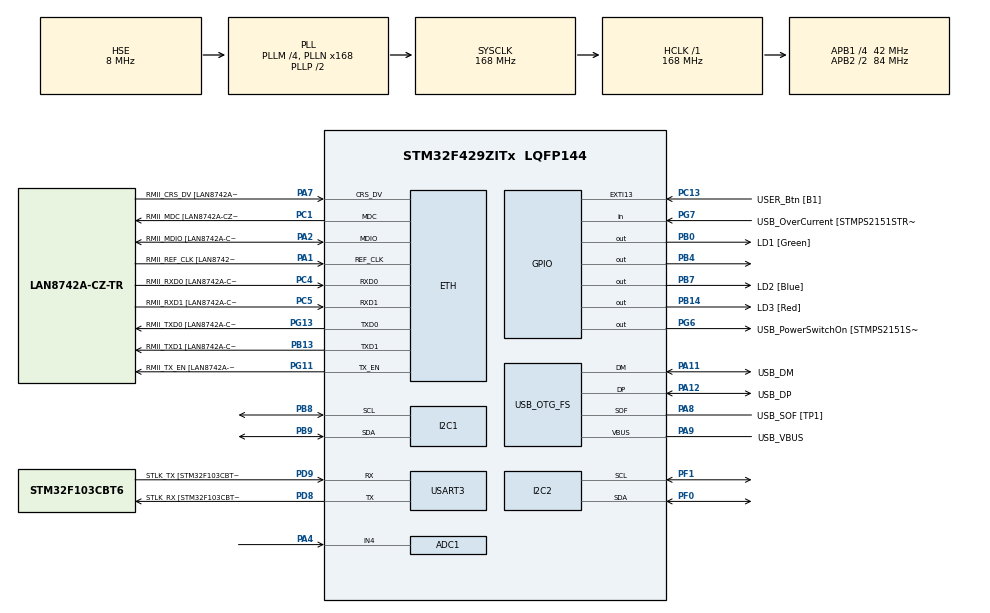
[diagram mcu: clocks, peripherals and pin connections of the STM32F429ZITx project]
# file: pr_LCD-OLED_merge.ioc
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ADC1.Channel-0\#ChannelRegularConversion=ADC_CHANNEL_4
ADC1.ContinuousConvMode=ENABLE
ADC1.DMAContinuousRequests=ENABLE
ADC1.NbrOfConversionFlag=1
ADC1.Rank-0\#ChannelRegularConversion=1
ADC1.SamplingTime-0\#ChannelRegularConversion=ADC_SAMPLETIME_3CYCLES
ADC1.master=1
Dma.ADC1.0.Direction=DMA_PERIPH_TO_MEMORY
Dma.ADC1.0.FIFOMode=DMA_FIFOMODE_DISABLE
Dma.ADC1.0.Instance=DMA2_Stream0
Dma.ADC1.0.MemDataAlignment=DMA_MDATAALIGN_HALFWORD
Dma.ADC1.0.MemInc=DMA_MINC_ENABLE
Dma.ADC1.0.Mode=DMA_CIRCULAR
Dma.ADC1.0.PeriphDataAlignment=DMA_PDATAALIGN_HALFWORD
Dma.ADC1.0.PeriphInc=DMA_PINC_DISABLE
Dma.ADC1.0.Priority=DMA_PRIORITY_LOW
Dma.Request0=ADC1
ETH.MediaInterface=HAL_ETH_RMII_MODE
ETH.PHY_Name=LAN8742A_PHY_ADDRESS
ETH.PHY_Value=0
ETH.PhyAddress=0
Mcu.Family=STM32F4
Mcu.Name=STM32F429ZITx
Mcu.Package=LQFP144
Mcu.UserConstants=T6_CNT,500;T4_PRE,8400-1;T7_CNT,1000-1;T4_CNT,2000-1;T6_PRE,8400-1;T7_PRE,84-1
NVIC.DMA2_Stream0_IRQn=true\:0\:0\:false\:false\:true\:false\:true\:true
NVIC.EXTI15_10_IRQn=true\:0\:0\:false\:false\:true\:true\:true\:true
NVIC.PriorityGroup=NVIC_PRIORITYGROUP_4
NVIC.TIM4_IRQn=true\:0\:0\:false\:false\:true\:true\:true\:true
NVIC.TIM6_DAC_IRQn=true\:0\:0\:false\:false\:true\:true\:true\:true
NVIC.TIM7_IRQn=true\:0\:0\:false\:false\:true\:true\:true\:true
PA1.GPIO_Label=RMII_REF_CLK [LAN8742A-CZ-TR_REFCLK0]
PA1.Mode=RMII
PA1.Signal=ETH_REF_CLK
PA10.GPIO_Label=USB_ID
PA10.Signal=USB_OTG_FS_ID
PA11.GPIO_Label=USB_DM
PA11.Mode=Device_Only
PA11.Signal=USB_OTG_FS_DM
PA12.GPIO_Label=USB_DP
PA12.Mode=Device_Only
PA12.Signal=USB_OTG_FS_DP
PA13.GPIO_Label=TMS
PA13.Mode=Serial_Wire
PA13.Signal=SYS_JTMS-SWDIO
PA14.GPIO_Label=TCK
PA14.Mode=Serial_Wire
PA14.Signal=SYS_JTCK-SWCLK
PA2.GPIO_Label=RMII_MDIO [LAN8742A-CZ-TR_MDIO]
PA2.Mode=RMII
PA2.Signal=ETH_MDIO
PA4.Signal=ADCx_IN4
PA7.GPIO_Label=RMII_CRS_DV [LAN8742A-CZ-TR_CRS_DV]
PA7.Mode=RMII
PA7.Signal=ETH_CRS_DV
PA8.GPIO_Label=USB_SOF [TP1]
PA8.Mode=Activate_SOF_FS
PA8.Signal=USB_OTG_FS_SOF
PA9.GPIO_Label=USB_VBUS
PA9.Mode=Activate_VBUS
PA9.Signal=USB_OTG_FS_VBUS
PB0.GPIO_Label=LD1 [Green]
PB0.Signal=GPIO_Output
PB13.GPIO_Label=RMII_TXD1 [LAN8742A-CZ-TR_TXD1]
PB13.Mode=RMII
PB13.Signal=ETH_TXD1
PB14.GPIO_Label=LD3 [Red]
PB14.Signal=GPIO_Output
PB4.Signal=GPIO_Output
PB7.GPIO_Label=LD2 [Blue]
PB7.Signal=GPIO_Output
PB8.Mode=I2C
PB8.Signal=I2C1_SCL
PB9.Mode=I2C
PB9.Signal=I2C1_SDA
PC1.GPIO_Label=RMII_MDC [LAN8742A-CZ-TR_MDC]
PC1.Mode=RMII
PC1.Signal=ETH_MDC
PC13.GPIO_Label=USER_Btn [B1]
PC13.GPIO_ModeDefaultEXTI=GPIO_MODE_IT_FALLING
PC13.Signal=GPXTI13
PC14/OSC32_IN.Mode=LSE-External-Oscillator
PC14/OSC32_IN.Signal=RCC_OSC32_IN
PC15/OSC32_OUT.Mode=LSE-External-Oscillator
PC15/OSC32_OUT.Signal=RCC_OSC32_OUT
PC4.GPIO_Label=RMII_RXD0 [LAN8742A-CZ-TR_RXD0]
PC4.Mode=RMII
PC4.Signal=ETH_RXD0
PC5.GPIO_Label=RMII_RXD1 [LAN8742A-CZ-TR_RXD1]
PC5.Mode=RMII
PC5.Signal=ETH_RXD1
PD8.GPIO_Label=STLK_RX [STM32F103CBT6_PA3]
PD8.Mode=Asynchronous
PD8.Signal=USART3_TX
PD9.GPIO_Label=STLK_TX [STM32F103CBT6_PA2]
PD9.Mode=Asynchronous
PD9.Signal=USART3_RX
PF0.Mode=I2C
PF0.Signal=I2C2_SDA
PF1.Mode=I2C
PF1.Signal=I2C2_SCL
PG11.GPIO_Label=RMII_TX_EN [LAN8742A-CZ-TR_TXEN]
PG11.Mode=RMII
PG11.Signal=ETH_TX_EN
PG13.GPIO_Label=RMII_TXD0 [LAN8742A-CZ-TR_TXD0]
PG13.Mode=RMII
PG13.Signal=ETH_TXD0
PG6.GPIO_Label=USB_PowerSwitchOn [STMPS2151STR_EN]
PG6.Signal=GPIO_Output
PG7.GPIO_Label=USB_OverCurrent [STMPS2151STR_FAULT]
PG7.Signal=GPIO_Input
PH0/OSC_IN.GPIO_Label=MCO [STM32F103CBT6_PA8]
PH0/OSC_IN.Mode=HSE-External-Clock-Source
PH0/OSC_IN.Signal=RCC_OSC_IN
PH1/OSC_OUT.Mode=HSE-External-Clock-Source
PH1/OSC_OUT.Signal=RCC_OSC_OUT
ProjectManager.HeapSize=0x200
ProjectManager.StackSize=0x400
ProjectManager.TargetToolchain=STM32CubeIDE
RCC.48MHZClocksFreq_Value=48000000
RCC.AHBFreq_Value=168000000
RCC.APB1CLKDivider=RCC_HCLK_DIV4
RCC.APB1Freq_Value=42000000
RCC.APB1TimFreq_Value=84000000
RCC.APB2CLKDivider=RCC_HCLK_DIV2
RCC.APB2Freq_Value=84000000
RCC.APB2TimCLKDivider=2
RCC.APB2TimFreq_Value=168000000
RCC.CortexFreq_Value=168000000
RCC.HCLKFreq_Value=168000000
RCC.HSE_VALUE=8000000
RCC.HSI_VALUE=16000000
RCC.PLLM=4
RCC.PLLMUL=RCC_PLL_MUL9
RCC.PLLN=168
RCC.PLLQ=7
RCC.PRESCALERUSB=RCC_USBCLKSOURCE_PLL_DIV1_5
RCC.SYSCLKFreq_VALUE=168000000
RCC.SYSCLKSource=RCC_SYSCLKSOURCE_PLLCLK
RCC.SYSCLKSourceVirtual=RCC_SYSCLKSOURCE_PLLCLK
RCC.USBFreq_Value=48000000
RCC.VCOOutputFreq_Value=336000000
SH.ADCx_IN4.0=ADC1_IN4,IN4
TIM4.Period=T4_CNT
TIM4.Prescaler=T4_PRE
TIM4.TIM_MasterOutputTrigger=TIM_TRGO_UPDATE
TIM6.Period=T6_CNT
TIM6.Prescaler=T6_PRE
TIM7.Period=T7_CNT
TIM7.Prescaler=T7_PRE
TIM7.TIM_MasterOutputTrigger=TIM_TRGO_UPDATE
USART3.VirtualMode=VM_ASYNC
USB_OTG_FS.VirtualMode=Device_Only
VP_TIM4_VS_ClockSourceINT.Mode=Internal
VP_TIM6_VS_ClockSourceINT.Mode=Enable_Timer
VP_TIM7_VS_ClockSourceINT.Mode=Enable_Timer
board=NUCLEO-F429ZI

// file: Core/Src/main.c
/* USER CODE BEGIN Header */
/**
  ******************************************************************************
  * @file           : main.c
  * @brief          : Main program body
  ******************************************************************************
  * @attention
  *
  * Copyright (c) 2023 STMicroelectronics.
  * All rights reserved.
  *
  * This software is licensed under terms that can be found in the LICENSE file
  * in the root directory of this software component.
  * If no LICENSE file comes with this software, it is provided AS-IS.
  *
  ******************************************************************************
  */
/* USER CODE END Header */
#include "main.h"
#include "string.h"

/* USER CODE BEGIN Includes */
#include <string>
#include <queue>
#include "Event.h"

#include "StartEvent.h"
#include "CancelEvent.h"
#include "SetUpLcd.h"
//#include "OLED_DisplayEvent.h"

/* USER CODE END Includes */

/* USER CODE BEGIN PM */

using namespace std;

/* USER CODE END PM */

ETH_TxPacketConfig TxConfig;
ETH_DMADescTypeDef  DMARxDscrTab[ETH_RX_DESC_CNT]; /* Ethernet Rx DMA Descriptors */
ETH_DMADescTypeDef  DMATxDscrTab[ETH_TX_DESC_CNT]; /* Ethernet Tx DMA Descriptors */

ADC_HandleTypeDef hadc1;
DMA_HandleTypeDef hdma_adc1;

ETH_HandleTypeDef heth;

I2C_HandleTypeDef hi2c1;
I2C_HandleTypeDef hi2c2;

TIM_HandleTypeDef htim4;
TIM_HandleTypeDef htim6;
TIM_HandleTypeDef htim7;

UART_HandleTypeDef huart3;

PCD_HandleTypeDef hpcd_USB_OTG_FS;

/* USER CODE BEGIN PV */
LCD_HandleTypeDef lcd = {LCD_DEFAULT_ADDR, &hi2c2, true};

/* USER CODE END PV */

void SystemClock_Config(void);
static void MX_GPIO_Init(void);
static void MX_DMA_Init(void);
static void MX_ETH_Init(void);
static void MX_USART3_UART_Init(void);
static void MX_USB_OTG_FS_PCD_Init(void);
static void MX_TIM4_Init(void);
static void MX_I2C2_Init(void);
static void MX_ADC1_Init(void);
static void MX_TIM6_Init(void);
static void MX_TIM7_Init(void);
static void MX_I2C1_Init(void);

/* USER CODE BEGIN 0 */
char msgBuffer2[16];			// global msg buffer for the LCD output

queue<Event*> event_queue; 		// erstellt eine queue mit piontern zu events...
bool btnPressedFlag = false;	// no longer important!
bool reset = false;				// Cancel for the waitingTask

uint16_t adc_buf[1]; 			// buffer
uint32_t t0=0, t3T=0, T = 0; 	// time vars

uint16_t tim7Time_ms = 0; 		// ms counter

int number_Btn_Press=0;

void HAL_TIM_PeriodElapsedCallback(TIM_HandleTypeDef *htim){ // Timer IT
	if(htim->Instance == TIM4){ // Timer 4 -> LED Blink
		HAL_GPIO_TogglePin(LD1_GPIO_Port, LD1_Pin);
	}
	if(htim->Instance == TIM6){ // Timer 6 -> Button 50ms pause
		HAL_TIM_Base_Stop_IT(&htim6);
		btnPressedFlag = false;
	}
	if(htim->Instance == TIM7){ // Timer 7 -> Time counter -> mesurement
		tim7Time_ms++; // ms counter
	}
}

void HAL_GPIO_EXTI_Callback(uint16_t GPIO_Pin)
{
    if(GPIO_Pin == USER_Btn_Pin && btnPressedFlag == false && HAL_TIM_Base_GetState(&htim6) == HAL_TIM_STATE_READY)
    {
		btnPressedFlag = true;
		HAL_TIM_Base_Start_IT(&htim6);

//		switch (number_Btn_Press) {
//			case 0:
//				number_Btn_Press++;
//				event_queue.push(new OLED_DisplayEvent("Verbinde Kondesator","minus mit Ground","Den Plus Pol an","PA4","","","",OLED_Multiwrite_Small));
//				break;
//			case 1:
//				number_Btn_Press++;
//				event_queue.push(new OLED_DisplayEvent("Verbinde Wiederstand","mit PB4 und PA4","","","","","",OLED_Multiwrite_Small));
//				break;
//			case 2:
//				number_Btn_Press++;
//				event_queue.push(new OLED_DisplayEvent("Folgende Werte sind","Voreingestellt:","Kondensator","in micro Farad:","100","","",OLED_Multiwrite_Small));
//				break;
//			case 3:
//				number_Btn_Press++;
//				event_queue.push(new OLED_DisplayEvent("Folgende Werte sind","Voreingestellt:","Wiederstand","in Ohm:","2000","","",OLED_Multiwrite_Small));
//				break;
//			case 4:
//				number_Btn_Press++;
//				event_queue.push(new OLED_DisplayEvent("Wenn diese Werte","Korrekt sind","Drucke Blauen ","Knopf um Messung","zu starten","","",OLED_Multiwrite_Small));
//				break;
//			default:

		if(!event_queue.empty()){ //cancelEvent
			reset = true;
			while(!event_queue.empty()) event_queue.pop();
			event_queue.push(new CancelEvent());
    	}
		else {						// StartEvent
			reset = false;
			event_queue.push(new StartEvent());
		}

    }
}

/* USER CODE END 0 */

int main(void)
{

  /* MCU Configuration--------------------------------------------------------*/

  /* Reset of all peripherals, Initializes the Flash interface and the Systick. */
  HAL_Init();

  /* Configure the system clock */
  SystemClock_Config();

  /* Initialize all configured peripherals */
  MX_GPIO_Init();
  MX_DMA_Init();
  MX_ETH_Init();
  MX_USART3_UART_Init();
  MX_USB_OTG_FS_PCD_Init();
  MX_TIM4_Init();
  MX_I2C2_Init();
  MX_ADC1_Init();
  MX_TIM6_Init();
  MX_TIM7_Init();
  MX_I2C1_Init();
  /* USER CODE BEGIN 2 */

  event_queue.push(new SetUpLcd()); // Startup

  /* USER CODE END 2 */

  /* Infinite loop */
  /* USER CODE BEGIN WHILE */
  while (1)
  {
	  if(!event_queue.empty()){ //event handler
		  Event* tmpEvent = event_queue.front();
		  event_queue.pop();
		  tmpEvent->handleEvent();
		  delete tmpEvent;
	  }
    /* USER CODE END WHILE */

  }
}

void SystemClock_Config(void)
{
  RCC_OscInitTypeDef RCC_OscInitStruct = {0};
  RCC_ClkInitTypeDef RCC_ClkInitStruct = {0};

  /** Configure the main internal regulator output voltage
  */
  __HAL_RCC_PWR_CLK_ENABLE();
  __HAL_PWR_VOLTAGESCALING_CONFIG(PWR_REGULATOR_VOLTAGE_SCALE1);

  /** Initializes the RCC Oscillators according to the specified parameters
  * in the RCC_OscInitTypeDef structure.
  */
  RCC_OscInitStruct.OscillatorType = RCC_OSCILLATORTYPE_HSE;
  RCC_OscInitStruct.HSEState = RCC_HSE_BYPASS;
  RCC_OscInitStruct.PLL.PLLState = RCC_PLL_ON;
  RCC_OscInitStruct.PLL.PLLSource = RCC_PLLSOURCE_HSE;
  RCC_OscInitStruct.PLL.PLLM = 4;
  RCC_OscInitStruct.PLL.PLLN = 168;
  RCC_OscInitStruct.PLL.PLLP = RCC_PLLP_DIV2;
  RCC_OscInitStruct.PLL.PLLQ = 7;
  if (HAL_RCC_OscConfig(&RCC_OscInitStruct) != HAL_OK)
  {
    Error_Handler();
  }

  /** Initializes the CPU, AHB and APB buses clocks
  */
  RCC_ClkInitStruct.ClockType = RCC_CLOCKTYPE_HCLK|RCC_CLOCKTYPE_SYSCLK
                              |RCC_CLOCKTYPE_PCLK1|RCC_CLOCKTYPE_PCLK2;
  RCC_ClkInitStruct.SYSCLKSource = RCC_SYSCLKSOURCE_PLLCLK;
  RCC_ClkInitStruct.AHBCLKDivider = RCC_SYSCLK_DIV1;
  RCC_ClkInitStruct.APB1CLKDivider = RCC_HCLK_DIV4;
  RCC_ClkInitStruct.APB2CLKDivider = RCC_HCLK_DIV2;

  if (HAL_RCC_ClockConfig(&RCC_ClkInitStruct, FLASH_LATENCY_5) != HAL_OK)
  {
    Error_Handler();
  }
}

static void MX_ADC1_Init(void)
{

  ADC_ChannelConfTypeDef sConfig = {0};

  /** Configure the global features of the ADC (Clock, Resolution, Data Alignment and number of conversion)
  */
  hadc1.Instance = ADC1;
  hadc1.Init.ClockPrescaler = ADC_CLOCK_SYNC_PCLK_DIV4;
  hadc1.Init.Resolution = ADC_RESOLUTION_12B;
  hadc1.Init.ScanConvMode = DISABLE;
  hadc1.Init.ContinuousConvMode = ENABLE;
  hadc1.Init.DiscontinuousConvMode = DISABLE;
  hadc1.Init.ExternalTrigConvEdge = ADC_EXTERNALTRIGCONVEDGE_NONE;
  hadc1.Init.ExternalTrigConv = ADC_SOFTWARE_START;
  hadc1.Init.DataAlign = ADC_DATAALIGN_RIGHT;
  hadc1.Init.NbrOfConversion = 1;
  hadc1.Init.DMAContinuousRequests = ENABLE;
  hadc1.Init.EOCSelection = ADC_EOC_SINGLE_CONV;
  if (HAL_ADC_Init(&hadc1) != HAL_OK)
  {
    Error_Handler();
  }

  /** Configure for the selected ADC regular channel its corresponding rank in the sequencer and its sample time.
  */
  sConfig.Channel = ADC_CHANNEL_4;
  sConfig.Rank = 1;
  sConfig.SamplingTime = ADC_SAMPLETIME_3CYCLES;
  if (HAL_ADC_ConfigChannel(&hadc1, &sConfig) != HAL_OK)
  {
    Error_Handler();
  }

}

static void MX_ETH_Init(void)
{

   static uint8_t MACAddr[6];

  heth.Instance = ETH;
  MACAddr[0] = 0x00;
  MACAddr[1] = 0x80;
  MACAddr[2] = 0xE1;
  MACAddr[3] = 0x00;
  MACAddr[4] = 0x00;
  MACAddr[5] = 0x00;
  heth.Init.MACAddr = &MACAddr[0];
  heth.Init.MediaInterface = HAL_ETH_RMII_MODE;
  heth.Init.TxDesc = DMATxDscrTab;
  heth.Init.RxDesc = DMARxDscrTab;
  heth.Init.RxBuffLen = 1524;

  if (HAL_ETH_Init(&heth) != HAL_OK)
  {
    Error_Handler();
  }

  memset(&TxConfig, 0 , sizeof(ETH_TxPacketConfig));
  TxConfig.Attributes = ETH_TX_PACKETS_FEATURES_CSUM | ETH_TX_PACKETS_FEATURES_CRCPAD;
  TxConfig.ChecksumCtrl = ETH_CHECKSUM_IPHDR_PAYLOAD_INSERT_PHDR_CALC;
  TxConfig.CRCPadCtrl = ETH_CRC_PAD_INSERT;

}

static void MX_I2C1_Init(void)
{

  hi2c1.Instance = I2C1;
  hi2c1.Init.ClockSpeed = 100000;
  hi2c1.Init.DutyCycle = I2C_DUTYCYCLE_2;
  hi2c1.Init.OwnAddress1 = 0;
  hi2c1.Init.AddressingMode = I2C_ADDRESSINGMODE_7BIT;
  hi2c1.Init.DualAddressMode = I2C_DUALADDRESS_DISABLE;
  hi2c1.Init.OwnAddress2 = 0;
  hi2c1.Init.GeneralCallMode = I2C_GENERALCALL_DISABLE;
  hi2c1.Init.NoStretchMode = I2C_NOSTRETCH_DISABLE;
  if (HAL_I2C_Init(&hi2c1) != HAL_OK)
  {
    Error_Handler();
  }

  /** Configure Analogue filter
  */
  if (HAL_I2CEx_ConfigAnalogFilter(&hi2c1, I2C_ANALOGFILTER_ENABLE) != HAL_OK)
  {
    Error_Handler();
  }

  /** Configure Digital filter
  */
  if (HAL_I2CEx_ConfigDigitalFilter(&hi2c1, 0) != HAL_OK)
  {
    Error_Handler();
  }

}

static void MX_I2C2_Init(void)
{

  hi2c2.Instance = I2C2;
  hi2c2.Init.ClockSpeed = 100000;
  hi2c2.Init.DutyCycle = I2C_DUTYCYCLE_2;
  hi2c2.Init.OwnAddress1 = 0;
  hi2c2.Init.AddressingMode = I2C_ADDRESSINGMODE_7BIT;
  hi2c2.Init.DualAddressMode = I2C_DUALADDRESS_DISABLE;
  hi2c2.Init.OwnAddress2 = 0;
  hi2c2.Init.GeneralCallMode = I2C_GENERALCALL_DISABLE;
  hi2c2.Init.NoStretchMode = I2C_NOSTRETCH_DISABLE;
  if (HAL_I2C_Init(&hi2c2) != HAL_OK)
  {
    Error_Handler();
  }

  /** Configure Analogue filter
  */
  if (HAL_I2CEx_ConfigAnalogFilter(&hi2c2, I2C_ANALOGFILTER_ENABLE) != HAL_OK)
  {
    Error_Handler();
  }

  /** Configure Digital filter
  */
  if (HAL_I2CEx_ConfigDigitalFilter(&hi2c2, 0) != HAL_OK)
  {
    Error_Handler();
  }

}

static void MX_TIM4_Init(void)
{

  TIM_ClockConfigTypeDef sClockSourceConfig = {0};
  TIM_MasterConfigTypeDef sMasterConfig = {0};

  htim4.Instance = TIM4;
  htim4.Init.Prescaler = T4_PRE;
  htim4.Init.CounterMode = TIM_COUNTERMODE_UP;
  htim4.Init.Period = T4_CNT;
  htim4.Init.ClockDivision = TIM_CLOCKDIVISION_DIV1;
  htim4.Init.AutoReloadPreload = TIM_AUTORELOAD_PRELOAD_DISABLE;
  if (HAL_TIM_Base_Init(&htim4) != HAL_OK)
  {
    Error_Handler();
  }
  sClockSourceConfig.ClockSource = TIM_CLOCKSOURCE_INTERNAL;
  if (HAL_TIM_ConfigClockSource(&htim4, &sClockSourceConfig) != HAL_OK)
  {
    Error_Handler();
  }
  sMasterConfig.MasterOutputTrigger = TIM_TRGO_UPDATE;
  sMasterConfig.MasterSlaveMode = TIM_MASTERSLAVEMODE_DISABLE;
  if (HAL_TIMEx_MasterConfigSynchronization(&htim4, &sMasterConfig) != HAL_OK)
  {
    Error_Handler();
  }

}

static void MX_TIM6_Init(void)
{

  TIM_MasterConfigTypeDef sMasterConfig = {0};

  htim6.Instance = TIM6;
  htim6.Init.Prescaler = T6_PRE;
  htim6.Init.CounterMode = TIM_COUNTERMODE_UP;
  htim6.Init.Period = T6_CNT;
  htim6.Init.AutoReloadPreload = TIM_AUTORELOAD_PRELOAD_DISABLE;
  if (HAL_TIM_Base_Init(&htim6) != HAL_OK)
  {
    Error_Handler();
  }
  sMasterConfig.MasterOutputTrigger = TIM_TRGO_RESET;
  sMasterConfig.MasterSlaveMode = TIM_MASTERSLAVEMODE_DISABLE;
  if (HAL_TIMEx_MasterConfigSynchronization(&htim6, &sMasterConfig) != HAL_OK)
  {
    Error_Handler();
  }

}

static void MX_TIM7_Init(void)
{

  TIM_MasterConfigTypeDef sMasterConfig = {0};

  htim7.Instance = TIM7;
  htim7.Init.Prescaler = T7_PRE;
  htim7.Init.CounterMode = TIM_COUNTERMODE_UP;
  htim7.Init.Period = T7_CNT;
  htim7.Init.AutoReloadPreload = TIM_AUTORELOAD_PRELOAD_DISABLE;
  if (HAL_TIM_Base_Init(&htim7) != HAL_OK)
  {
    Error_Handler();
  }
  sMasterConfig.MasterOutputTrigger = TIM_TRGO_UPDATE;
  sMasterConfig.MasterSlaveMode = TIM_MASTERSLAVEMODE_DISABLE;
  if (HAL_TIMEx_MasterConfigSynchronization(&htim7, &sMasterConfig) != HAL_OK)
  {
    Error_Handler();
  }

}

static void MX_USART3_UART_Init(void)
{

  huart3.Instance = USART3;
  huart3.Init.BaudRate = 115200;
  huart3.Init.WordLength = UART_WORDLENGTH_8B;
  huart3.Init.StopBits = UART_STOPBITS_1;
  huart3.Init.Parity = UART_PARITY_NONE;
  huart3.Init.Mode = UART_MODE_TX_RX;
  huart3.Init.HwFlowCtl = UART_HWCONTROL_NONE;
  huart3.Init.OverSampling = UART_OVERSAMPLING_16;
  if (HAL_UART_Init(&huart3) != HAL_OK)
  {
    Error_Handler();
  }

}

static void MX_USB_OTG_FS_PCD_Init(void)
{

  hpcd_USB_OTG_FS.Instance = USB_OTG_FS;
  hpcd_USB_OTG_FS.Init.dev_endpoints = 4;
  hpcd_USB_OTG_FS.Init.speed = PCD_SPEED_FULL;
  hpcd_USB_OTG_FS.Init.dma_enable = DISABLE;
  hpcd_USB_OTG_FS.Init.phy_itface = PCD_PHY_EMBEDDED;
  hpcd_USB_OTG_FS.Init.Sof_enable = ENABLE;
  hpcd_USB_OTG_FS.Init.low_power_enable = DISABLE;
  hpcd_USB_OTG_FS.Init.lpm_enable = DISABLE;
  hpcd_USB_OTG_FS.Init.vbus_sensing_enable = ENABLE;
  hpcd_USB_OTG_FS.Init.use_dedicated_ep1 = DISABLE;
  if (HAL_PCD_Init(&hpcd_USB_OTG_FS) != HAL_OK)
  {
    Error_Handler();
  }

}

static void MX_DMA_Init(void)
{

  /* DMA controller clock enable */
  __HAL_RCC_DMA2_CLK_ENABLE();

  /* DMA interrupt init */
  /* DMA2_Stream0_IRQn interrupt configuration */
  HAL_NVIC_SetPriority(DMA2_Stream0_IRQn, 0, 0);
  HAL_NVIC_EnableIRQ(DMA2_Stream0_IRQn);

}

static void MX_GPIO_Init(void)
{
  GPIO_InitTypeDef GPIO_InitStruct = {0};

  /* GPIO Ports Clock Enable */
  __HAL_RCC_GPIOC_CLK_ENABLE();
  __HAL_RCC_GPIOF_CLK_ENABLE();
  __HAL_RCC_GPIOH_CLK_ENABLE();
  __HAL_RCC_GPIOA_CLK_ENABLE();
  __HAL_RCC_GPIOB_CLK_ENABLE();
  __HAL_RCC_GPIOD_CLK_ENABLE();
  __HAL_RCC_GPIOG_CLK_ENABLE();

  /*Configure GPIO pin Output Level */
  HAL_GPIO_WritePin(GPIOB, LD1_Pin|LD3_Pin|GPIO_PIN_4|LD2_Pin, GPIO_PIN_RESET);

  /*Configure GPIO pin Output Level */
  HAL_GPIO_WritePin(USB_PowerSwitchOn_GPIO_Port, USB_PowerSwitchOn_Pin, GPIO_PIN_RESET);

  /*Configure GPIO pin : USER_Btn_Pin */
  GPIO_InitStruct.Pin = USER_Btn_Pin;
  GPIO_InitStruct.Mode = GPIO_MODE_IT_FALLING;
  GPIO_InitStruct.Pull = GPIO_NOPULL;
  HAL_GPIO_Init(USER_Btn_GPIO_Port, &GPIO_InitStruct);

  /*Configure GPIO pins : LD1_Pin LD3_Pin PB4 LD2_Pin */
  GPIO_InitStruct.Pin = LD1_Pin|LD3_Pin|GPIO_PIN_4|LD2_Pin;
  GPIO_InitStruct.Mode = GPIO_MODE_OUTPUT_PP;
  GPIO_InitStruct.Pull = GPIO_NOPULL;
  GPIO_InitStruct.Speed = GPIO_SPEED_FREQ_LOW;
  HAL_GPIO_Init(GPIOB, &GPIO_InitStruct);

  /*Configure GPIO pin : USB_PowerSwitchOn_Pin */
  GPIO_InitStruct.Pin = USB_PowerSwitchOn_Pin;
  GPIO_InitStruct.Mode = GPIO_MODE_OUTPUT_PP;
  GPIO_InitStruct.Pull = GPIO_NOPULL;
  GPIO_InitStruct.Speed = GPIO_SPEED_FREQ_LOW;
  HAL_GPIO_Init(USB_PowerSwitchOn_GPIO_Port, &GPIO_InitStruct);

  /*Configure GPIO pin : USB_OverCurrent_Pin */
  GPIO_InitStruct.Pin = USB_OverCurrent_Pin;
  GPIO_InitStruct.Mode = GPIO_MODE_INPUT;
  GPIO_InitStruct.Pull = GPIO_NOPULL;
  HAL_GPIO_Init(USB_OverCurrent_GPIO_Port, &GPIO_InitStruct);

  /* EXTI interrupt init*/
  HAL_NVIC_SetPriority(EXTI15_10_IRQn, 0, 0);
  HAL_NVIC_EnableIRQ(EXTI15_10_IRQn);

}

void Error_Handler(void)
{
  __disable_irq();
  while (1)
  {
  }
}
